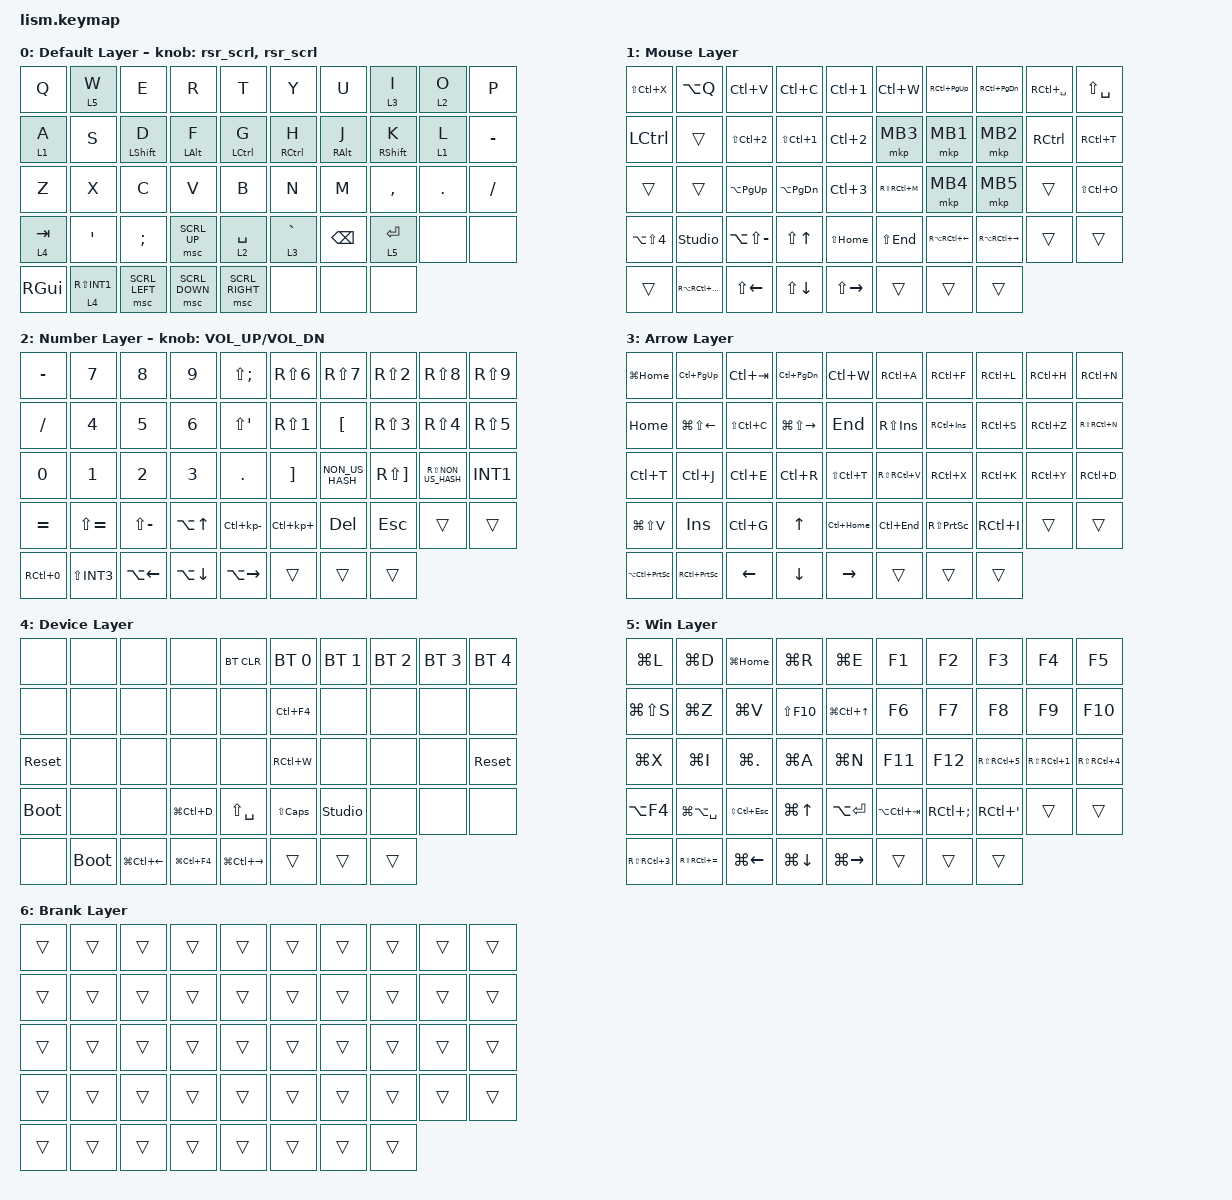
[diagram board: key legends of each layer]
#define ZMK_POINTING_DEFAULT_SCRL_VAL 200

#include <dt-bindings/zmk/mouse.h>
#include <behaviors/runtime-sensor-rotate.dtsi>
#include <behaviors/default_layer.dtsi>
#include <dt-bindings/zmk_behavior_default_layer/default_layer.h>
#include <behaviors.dtsi>
#include <behaviors/runtime_macro.dtsi>
#include <dt-bindings/zmk/bt.h>
#include <dt-bindings/zmk/keys.h>
#include <dt-bindings/zmk/pointing.h>

&mt {
    tapping-term-ms = <300>;
    flavor = "balanced";
};

&lt { quick-tap-ms = <300>; };

/ {
    macros {
        emoji: emoji_macro {
            compatible = "zmk,behavior-macro";
            label = "EMOJI";
            #binding-cells = <0>;
            bindings =
                <&macro_press>,
                <&kp CAPSLOCK>,
                <&macro_tap>,
                <&kp E>,
                <&macro_release>,
                <&kp CAPSLOCK>;
        };
    };

    /* Restored from Abyss backup "LisM — 2026-08-11" (version 9).
     * This board's combos are managed by cormoran/zmk-feature-runtime-combo,
     * not stock ZMK zmk,combos -- that's the node type Studio's "マクロ&コンボ"
     * screen actually reads, and combos declared this way work immediately
     * after flashing and survive a settings erase. timeout-ms is not recorded
     * in the Abyss backup; 50ms is this module's default and assumed here. */
    runtime_combo_defaults {
        compatible = "cormoran,runtime-combo-defaults";

        combo_0 {
            key-positions = <26 27>;
            bindings = <&kp RS(RC(N8))>;
        };
        combo_1 {
            key-positions = <16 17>;
            bindings = <&kp RS(RC(N7))>;
        };
        combo_2 {
            key-positions = <3 4>;
            bindings = <&kp LC(N4)>;
        };
        combo_3 {
            key-positions = <13 14>;
            bindings = <&kp LC(N5)>;
        };
        combo_4 {
            key-positions = <6 7>;
            bindings = <&kp RS(RC(N6))>;
        };
        combo_5 {
            key-positions = <7 8>;
            bindings = <&kp RS(RC(INT1))>;
        };
        combo_6 {
            key-positions = <5 6>;
            bindings = <&kp C_VOL_UP>;
        };
        combo_7 {
            key-positions = <25 26>;
            bindings = <&kp C_VOL_DN>;
        };
    };

    behaviors {
        encoder_kp: sensor_rotate_kp {
            compatible = "zmk,behavior-sensor-rotate-var";
            #sensor-binding-cells = <2>;
            bindings = <&kp>, <&kp>;
        };

        rsr_scrl: rsr_scrl {
            compatible = "zmk,behavior-runtime-sensor-rotate";
            #sensor-binding-cells = <0>;
            tap-ms = <20>;
            cw-binding = <&msc SCRL_DOWN>;
            ccw-binding = <&msc SCRL_UP>;
        };
    };

    keymap {
        compatible = "zmk,keymap";

        default_layer {
            display-name = "Default Layer";
            bindings = <
                &kp Q    &lt 5 W    &kp E    &kp R    &kp T    &kp Y    &kp U    &lt 3 I    &lt 2 O    &kp P
                &lt 1 A    &kp S    &mt LSHIFT D    &mt LALT F    &mt LCTRL G    &mt RCTRL H    &mt RALT J    &mt RSHIFT K    &lt 1 L    &kp MINUS
                &kp Z    &kp X    &kp C    &kp V    &kp B    &kp N    &kp M    &kp COMMA    &kp DOT    &kp SLASH
                &lt 4 TAB    &kp SQT    &kp SEMICOLON    &msc SCRL_UP    &lt 2 SPACE    &lt 3 GRAVE    &kp BACKSPACE    &lt 5 ENTER    &none    &none
                &kp RGUI    &lt 4 RS(INT1)    &msc SCRL_LEFT    &msc SCRL_DOWN    &msc SCRL_RIGHT    &none    &none    &none
            >;

            sensor-bindings = <&rsr_scrl &rsr_scrl>;
        };

        layer_1 {
            display-name = "Mouse Layer";
            bindings = <
                &kp LS(LC(X))    &kp LA(Q)    &kp LC(V)    &kp LC(C)    &kp LC(N1)    &kp LC(W)    &kp RC(PAGE_UP)    &kp RC(PAGE_DOWN)    &kp RC(SPACE)    &kp LS(SPACE)
                &kp LCTRL    &trans    &kp LS(LC(N2))    &kp LS(LC(N1))    &kp LC(N2)    &mkp MB3    &mkp MB1    &mkp MB2    &kp RCTRL    &kp RC(T)
                &trans    &trans    &kp LA(PAGE_UP)    &kp LA(PAGE_DOWN)    &kp LC(N3)    &kp RS(RC(M))    &mkp MB4    &mkp MB5    &trans    &kp LS(LC(O))
                &kp LA(LS(N4))    &studio_unlock    &kp LA(LS(MINUS))    &kp LS(UP)    &kp LS(HOME)    &kp LS(END)    &kp RA(RC(LEFT))    &kp RA(RC(RIGHT))    &trans    &trans
                &trans    &kp RA(RC(DELETE))    &kp LS(LEFT)    &kp LS(DOWN)    &kp LS(RIGHT)    &trans    &trans    &trans
            >;
        };

        layer_2 {
            display-name = "Number Layer";
            bindings = <
                &kp MINUS    &kp N7    &kp N8    &kp N9    &kp LS(SEMICOLON)    &kp RS(N6)    &kp RS(N7)    &kp RS(N2)    &kp RS(N8)    &kp RS(N9)
                &kp SLASH    &kp N4    &kp N5    &kp N6    &kp LS(SQT)    &kp RS(N1)    &kp LEFT_BRACKET    &kp RS(N3)    &kp RS(N4)    &kp RS(N5)
                &kp N0    &kp N1    &kp N2    &kp N3    &kp PERIOD    &kp RIGHT_BRACKET    &kp NON_US_HASH    &kp RS(RIGHT_BRACKET)    &kp RS(NON_US_HASH)    &kp INT1
                &kp EQUAL    &kp LS(EQUAL)    &kp LS(MINUS)    &kp LA(UP)    &kp LC(KP_MINUS)    &kp LC(KP_PLUS)    &kp DELETE    &kp ESC    &trans    &trans
                &kp RC(N0)    &kp LS(INT3)    &kp LA(LEFT)    &kp LA(DOWN)    &kp LA(RIGHT)    &trans    &trans    &trans
            >;

            sensor-bindings = <&encoder_kp C_VOL_UP C_VOL_DN>;
        };

        layer_3 {
            display-name = "Arrow Layer";
            bindings = <
                &kp LG(HOME)    &kp LC(PAGE_UP)    &kp LC(TAB)    &kp LC(PAGE_DOWN)    &kp LC(W)    &kp RC(A)    &kp RC(F)    &kp RC(L)    &kp RC(H)    &kp RC(N)
                &kp HOME    &kp LG(LS(LEFT))    &kp LS(LC(C))    &kp LG(LS(RIGHT))    &kp END    &kp RS(INS)    &kp RC(INS)    &kp RC(S)    &kp RC(Z)    &kp RS(RC(N))
                &kp LC(T)    &kp LC(J)    &kp LC(E)    &kp LC(R)    &kp LS(LC(T))    &kp RS(RC(V))    &kp RC(X)    &kp RC(K)    &kp RC(Y)    &kp RC(D)
                &kp LG(LS(V))    &kp INS    &kp LC(G)    &kp UP    &kp LC(HOME)    &kp LC(END)    &kp RS(PSCRN)    &kp RC(I)    &trans    &trans
                &kp LA(LC(PSCRN))    &kp RC(PSCRN)    &kp LEFT    &kp DOWN    &kp RIGHT    &trans    &trans    &trans
            >;
        };

        layer_4 {
            display-name = "Device Layer";
            bindings = <
                &none    &none    &none    &none    &bt BT_CLR    &bt BT_SEL 0    &bt BT_SEL 1    &bt BT_SEL 2    &bt BT_SEL 3    &bt BT_SEL 4
                &none    &none    &none    &none    &none    &kp LC(F4)    &none    &none    &none    &none
                &sys_reset    &none    &none    &none    &none    &kp RC(W)    &none    &none    &none    &sys_reset
                &bootloader    &none    &none    &kp LG(LC(D))    &kp LS(SPACE)    &kp LS(CAPSLOCK)    &studio_unlock    &none    &none    &none
                &none    &bootloader    &kp LG(LC(LEFT))    &kp LG(LC(F4))    &kp LG(LC(RIGHT))    &trans    &trans    &trans
            >;
        };

        layer_5 {
            display-name = "Win Layer";
            bindings = <
                &kp LG(L)    &kp LG(D)    &kp LG(HOME)    &kp LG(R)    &kp LG(E)    &kp F1    &kp F2    &kp F3    &kp F4    &kp F5
                &kp LG(LS(S))    &kp LG(Z)    &kp LG(V)    &kp LS(F10)    &kp LG(LC(UP))    &kp F6    &kp F7    &kp F8    &kp F9    &kp F10
                &kp LG(X)    &kp LG(I)    &kp LG(DOT)    &kp LG(A)    &kp LG(N)    &kp F11    &kp F12    &kp RS(RC(N5))    &kp RS(RC(N1))    &kp RS(RC(N4))
                &kp LA(F4)    &kp LG(LA(SPACE))    &kp LS(LC(ESC))    &kp LG(UP)    &kp LA(ENTER)    &kp LA(LC(TAB))    &kp RC(SEMICOLON)    &kp RC(SQT)    &trans    &trans
                &kp RS(RC(N3))    &kp RS(RC(EQUAL))    &kp LG(LEFT)    &kp LG(DOWN)    &kp LG(RIGHT)    &trans    &trans    &trans
            >;
        };

        layer_7 {
            display-name = "Brank Layer";
            bindings = <
                &trans    &trans    &trans    &trans    &trans    &trans    &trans    &trans    &trans    &trans
                &trans    &trans    &trans    &trans    &trans    &trans    &trans    &trans    &trans    &trans
                &trans    &trans    &trans    &trans    &trans    &trans    &trans    &trans    &trans    &trans
                &trans    &trans    &trans    &trans    &trans    &trans    &trans    &trans    &trans    &trans
                &trans    &trans    &trans    &trans    &trans    &trans    &trans    &trans
            >;
        };
    };
};
